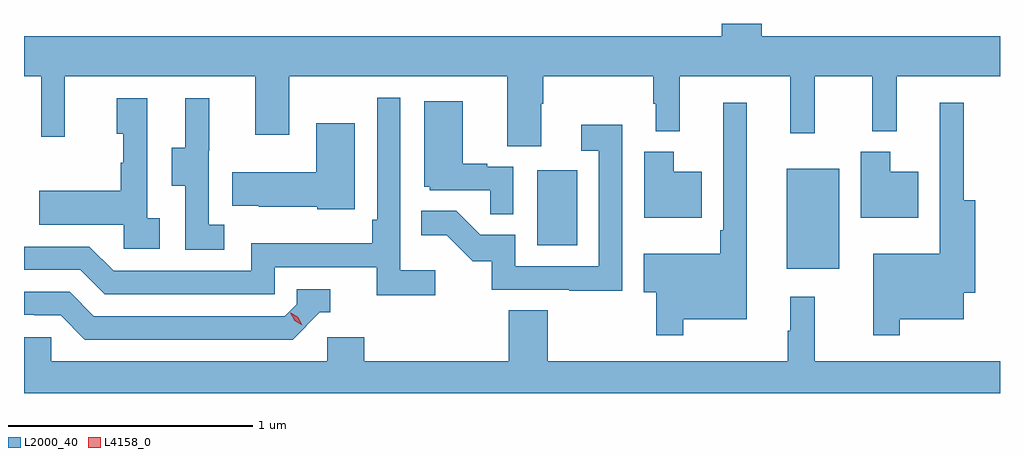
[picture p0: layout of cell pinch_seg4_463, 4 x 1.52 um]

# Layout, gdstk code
import gdstk
lib = gdstk.Library(unit=1e-6, precision=1e-09)
def R(c, l, rs):  # rectangles x0, y0, x1, y1
    for r in rs: c.add(gdstk.rectangle(r[:2], r[2:], *l))
def P(c, l, *ps):  # polygons
    for p in ps: c.add(gdstk.Polygon(p, *l))
L2000_40 = (2000, 40)
L4158_0 = (4158, 0)

pinch_seg4_463 = lib.new_cell('pinch_seg4_463')
R(pinch_seg4_463, L2000_40, [(896.543,749.411,896.758,749.821), (895.52,749.508,895.684,749.815)])
P(pinch_seg4_463, L2000_40, [(895.537,750.088),(895.545,750.088),(895.545,750.2),(895.995,750.2),(895.995,750.088),(896.006,750.088),(896.006,749.975),(896.105,749.975),(896.105,750.2),(896.558,750.2),(896.558,749.967),(896.658,749.967),(896.658,750.2),(896.893,750.2),(896.893,749.975),(896.993,749.975),(896.993,750.2),(897.417,750.2),(897.417,750.364),(896.44,750.364),(896.44,750.416),(896.276,750.416),(896.276,750.364),(893.417,750.364),(893.417,750.2),(893.487,750.2),(893.487,749.952),(893.585,749.952),(893.585,750.2),(894.365,750.2),(894.365,749.961),(894.505,749.961),(894.505,750.2),(895.397,750.2),(895.397,749.914),(895.537,749.914)],
  [(895.102,749.404),(894.96,749.404),(894.96,750.112),(894.864,750.112),(894.864,749.611),(894.844,749.611),(894.844,749.515),(894.348,749.515),(894.348,749.403),(893.784,749.403),(893.685,749.502),(893.417,749.502),(893.417,749.406),(893.648,749.406),(893.747,749.307),(894.444,749.307),(894.444,749.418),(894.863,749.418),(894.863,749.302),(895.102,749.302)],
  [(894.238,749.591),(894.174,749.591),(894.174,749.895),(894.176,749.895),(894.176,750.109),(894.077,750.109),(894.077,749.907),(894.023,749.907),(894.023,749.752),(894.078,749.752),(894.078,749.488),(894.238,749.488)],
  [(893.974,749.618),(893.922,749.618),(893.922,750.109),(893.798,750.109),(893.798,749.964),(893.824,749.964),(893.824,749.846),(893.814,749.846),(893.814,749.731),(893.479,749.731),(893.479,749.591),(893.826,749.591),(893.826,749.493),(893.974,749.493)],
  [(895.422,749.829),(895.316,749.829),(895.316,749.842),(895.216,749.842),(895.216,750.097),(895.058,750.097),(895.058,749.748),(895.08,749.748),(895.08,749.733),(895.327,749.733),(895.327,749.635),(895.422,749.635)],
  [(896.119,749.204),(896.38,749.204),(896.38,750.091),(896.283,750.091),(896.283,749.569),(896.271,749.569),(896.271,749.473),(895.956,749.473),(895.956,749.315),(896.009,749.315),(896.009,749.139),(896.119,749.139)],
  [(897.007,749.204),(897.268,749.204),(897.268,749.312),(897.316,749.312),(897.316,749.692),(897.268,749.692),(897.268,750.091),(897.171,750.091),(897.171,749.473),(896.898,749.473),(896.898,749.139),(897.007,749.139)],
  [(894.772,750.007),(894.614,750.007),(894.614,749.806),(894.271,749.806),(894.271,749.669),(894.379,749.669),(894.379,749.666),(894.618,749.666),(894.618,749.654),(894.772,749.654)],
  [(895.869,750.001),(895.701,750.001),(895.701,749.895),(895.773,749.895),(895.773,749.421),(895.431,749.421),(895.431,749.55),(895.287,749.55),(895.189,749.648),(895.045,749.648),(895.045,749.549),(895.149,749.549),(895.256,749.442),(895.333,749.442),(895.333,749.325),(895.651,749.325),(895.651,749.32),(895.869,749.32)],
  [(897.082,749.809),(896.968,749.809),(896.968,749.89),(896.846,749.89),(896.846,749.621),(897.082,749.621)],
  [(896.194,749.809),(896.08,749.809),(896.08,749.89),(895.958,749.89),(895.958,749.621),(896.194,749.621)],
  [(894.63,749.232),(894.673,749.232),(894.673,749.328),(894.534,749.328),(894.534,749.265),(894.486,749.217),(893.703,749.217),(893.604,749.316),(893.417,749.316),(893.417,749.223),(893.46,749.223),(893.46,749.22),(893.567,749.22),(893.666,749.121),(894.519,749.121)],
  [(897.417,749.032),(896.658,749.032),(896.658,749.296),(896.558,749.296),(896.558,749.156),(896.547,749.156),(896.547,749.032),(895.563,749.032),(895.563,749.24),(895.403,749.24),(895.403,749.032),(894.812,749.032),(894.812,749.13),(894.66,749.13),(894.66,749.032),(893.529,749.032),(893.529,749.13),(893.417,749.13),(893.417,748.9),(897.417,748.9)])
P(pinch_seg4_463, L4158_0, [(894.558,749.179),(894.526,749.198),(894.509,749.231),(894.509,749.231),(894.51,749.231),(894.541,749.212),(894.558,749.179),(894.558,749.179)])

lib.write_gds('pinch_seg4_463.gds')
